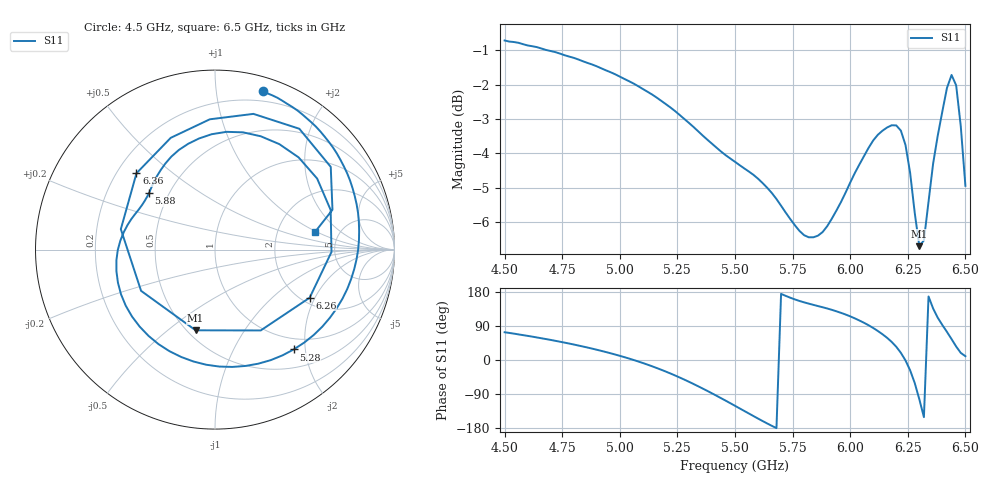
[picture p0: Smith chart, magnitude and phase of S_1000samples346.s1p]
! TOUCHSTONE file generated by CST MICROWAVE STUDIO
! Date and time: Thu Oct 27 20:44:33 2022
! Project name: L.cst
! Parameters = {Di=1.27; Epsilon_r=1.56; InnerDiameter=1.27; Length=2; Lf=10; Lg=60; OuterConductorThickness=0.2921; OuterDiameter=3.6; Wf=3; Wp=41.2; de=1.5; df=6.8; g=0.8; gx=2.99737; gy=1.64448; h=2.34; hf=1.524; px=10.7374; py=12.9106; w=9.7; wx=7.74; wy=11.2661}
! Header version: 2018
! Port assignment regex: !\s*Touchstone port\s*([0-9]+)\s*=\s*(CST MWS port|CST DS port)\s*([0-9]+|Zmin|Zmax)\s*\(\"(.*)\"\)(\s*mode\s*([0-9]+))?.*
! Touchstone port assignment:
! Touchstone port 1 = CST MWS port 1 ("")
# GHz S DB R 50
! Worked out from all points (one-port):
!   101 points, 4.5 GHz to 6.5 GHz, reference 50 ohm
!   lowest |S11| = -6.7 dB at 6.3 GHz (marker M1), VSWR 2.72, Z = 27.5 - j31.5 ohm
!   |S11| at or under -10 dB: nowhere
!   S11 on the Smith chart (normalised r, x): 4.5 GHz: 0.11, +1.34; 5.28 GHz: 0.80, -1.78; 5.88 GHz: 0.39, +0.32; 6.26 GHz: 2.20, -1.82; 6.36 GHz: 0.28, +0.38; 6.5 GHz: 3.31, +0.96
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4.5  -0.71 73.2
4.76  -1.14 45.9
5  -1.76 11.0
5.14  -2.28 -16.5
5.26  -2.88 -46.2
5.28  -2.99 -51.8
5.4  -3.71 -87.9
5.5  -4.24 -120.9
5.62  -4.86 -161.1
5.76  -6.09 159.9
5.88  -6.29 139.2
6  -4.85 115.2
6.1  -3.62 84.4
6.16  -3.24 58.6
6.22  -3.34 18.9
6.24  -3.75 -1.2
6.26  -4.56 -26.9
6.28  -5.72 -60.5
6.3  -6.70 -103.5
6.32  -6.53 -150.9
6.34  -5.40 167.8
6.36  -4.29 135.8
6.38  -3.48 111.6
6.42  -2.09 74.2
6.44  -1.71 55.1
6.46  -2.02 35.6
6.48  -3.21 18.7
6.5  -4.94 10.0
